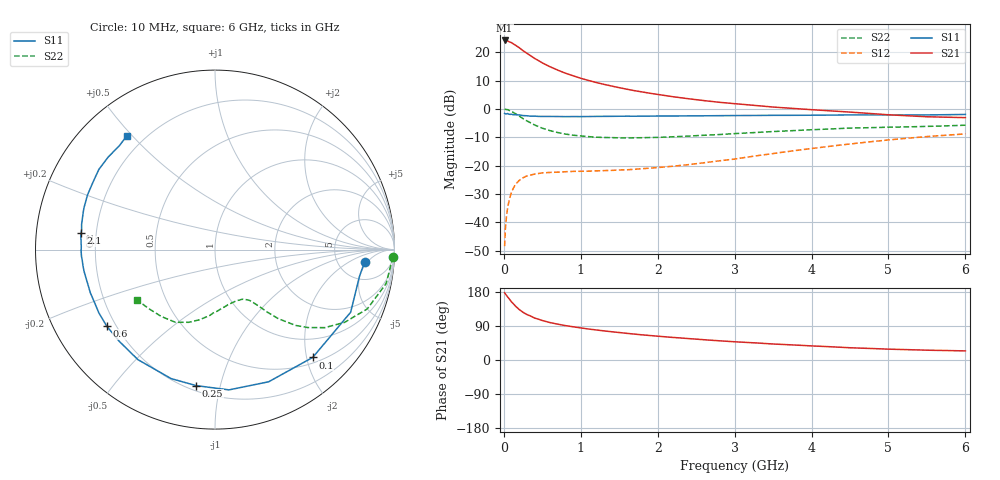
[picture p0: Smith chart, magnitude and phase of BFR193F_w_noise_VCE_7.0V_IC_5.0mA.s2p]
! Infineon Technologies  Discrete & RF Semiconductors
! BFR193F
! VCE =  7.0 V,  IC =  5.0 mA
! Common Emitter S-Parameters:  Jan 2017
# GHz  S  MA  R  50
!  f  S11  S21  S12  S22
! GHz  MAG  ANG  MAG  ANG  MAG  ANG  MAG  ANG
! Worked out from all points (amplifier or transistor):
!   77 points, 10 MHz to 6 GHz, reference 50 ohm
!   highest |S21| = 24.2 dB at 10 MHz (marker M1)
!   |S21| within 3 dB of that: start of sweep to 221 MHz
!   unconditionally stable (mu >= 1): 1.844 GHz to 2.968 GHz
!   at 130 MHz: K = 0.10, MSG = 25.2 dB, |S12| = -27.6 dB
!   at 2.2 GHz: K = 1.07, MAG = 10.7 dB, |S12| = -20.2 dB
!   at 6 GHz: K = 0.77, MSG = 2.9 dB, |S12| = -8.8 dB
!   lowest NFmin = 0.81 dB at 450 MHz
!   S11 on the Smith chart (normalised r, x): 10 MHz: 9, -4; 100 MHz: 0.60, -2.11; 250 MHz: 0.23, -0.84; 600 MHz: 0.17, -0.31; 2.1 GHz: 0.14, +0.06; 6 GHz: 0.14, +0.48
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0.01  0.8368 -4.6  16.18 177.7  0.0038 88.6  0.9926 -2.4
0.02  0.8186 -10.5  16.01 174.3  0.0076 88.5  0.9851 -4.5
0.05  0.8325 -24.8  15.82 166.3  0.0182 76.9  0.9722 -11.2
0.1  0.8107 -47.8  14.81 153.3  0.0342 66.7  0.9104 -21.3
0.15  0.7948 -67.9  13.38 142.4  0.0465 57.8  0.8281 -29.3
0.2  0.7854 -84.3  12.05 133.2  0.0551 51.0  0.7506 -35.4
0.25  0.7651 -97.9  10.69 125.8  0.0612 45.3  0.6758 -40.0
0.3  0.7591 -108.8  9.598 120.0  0.0659 41.2  0.6158 -43.3
0.4  0.7485 -125.0  7.806 110.7  0.071 35.6  0.5221 -47.5
0.5  0.7387 -136.2  6.512 104.2  0.0745 33.0  0.4584 -49.9
0.6  0.7387 -144.8  5.567 98.8  0.076 31.2  0.4151 -51.5
0.7  0.7369 -151.4  4.855 94.6  0.0769 31.0  0.3843 -53.0
0.8  0.7331 -156.5  4.285 90.8  0.0781 31.0  0.3612 -54.3
1.1  0.7362 -167.8  3.187 81.8  0.08 33.8  0.3256 -58.7
1.3  0.7411 -173.2  2.724 76.9  0.0818 37.0  0.3143 -62.0
1.6  0.7459 -179.3  2.232 70.3  0.0847 42.9  0.3091 -68.1
2.1  0.7514 172.9  1.725 61.2  0.0952 53.4  0.3193 -78.6
2.6  0.7586 167.0  1.406 53.5  0.1124 62.6  0.3439 -88.1
3.1  0.7669 161.3  1.208 47.0  0.1372 69.2  0.3738 -96.2
4.1  0.7778 150.0  0.953 36.3  0.2085 74.0  0.4358 -111.7
5.1  0.7864 137.8  0.778 28.1  0.2926 70.6  0.4798 -130.5
6  0.8014 127.8  0.704 24.0  0.3635 64.3  0.518 -147.4
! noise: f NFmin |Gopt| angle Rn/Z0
0.45  0.81  0.31  100  0.1
0.9  1.01  0.45  136  0.09
1.9  1.9  0.63  -179  0.06
2.4  2.34  0.67  -168  0.11
